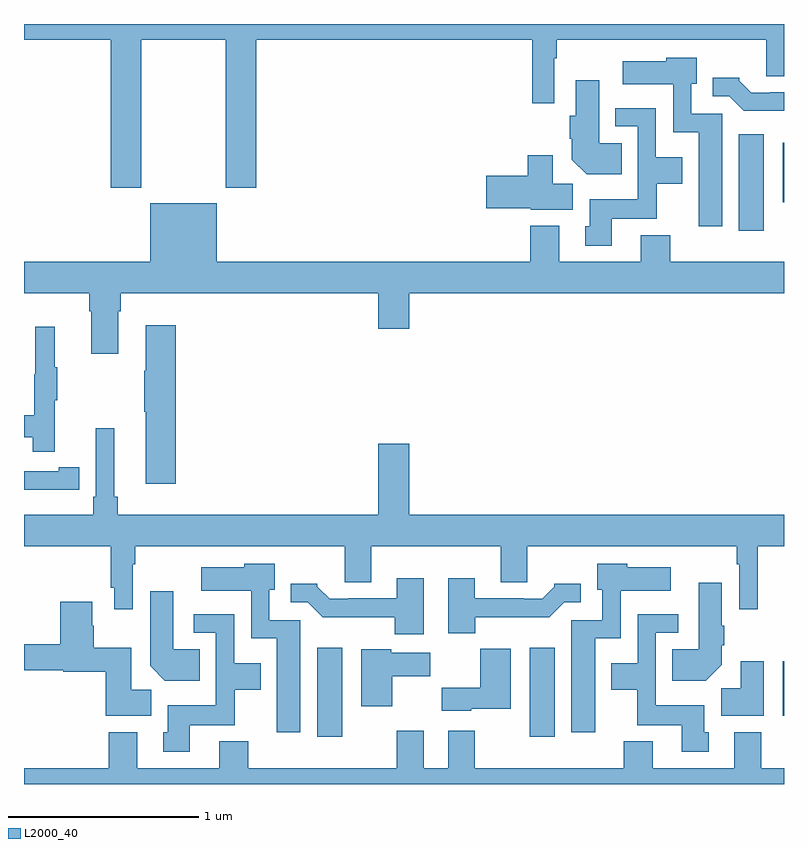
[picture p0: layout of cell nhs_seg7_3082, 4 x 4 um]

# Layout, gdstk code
import gdstk
lib = gdstk.Library(unit=1e-6, precision=1e-09)
def R(c, l, rs):  # rectangles x0, y0, x1, y1
    for r in rs: c.add(gdstk.rectangle(r[:2], r[2:], *l))
def P(c, l, *ps):  # polygons
    for p in ps: c.add(gdstk.Polygon(p, *l))
L2000_40 = (2000, 40)

nhs_seg7_3082 = lib.new_cell('nhs_seg7_3082')
R(nhs_seg7_3082, L2000_40, [(308.543,1030.248,308.674,1030.717), (309.662,1030.248,309.793,1030.717), (310.994,1030.358,311,1030.645), (310.763,1032.912,310.894,1033.42), (310.994,1033.061,311,1033.375)])
P(nhs_seg7_3082, L2000_40, [(307.617,1033.916),(308.062,1033.916),(308.062,1033.137),(308.222,1033.137),(308.222,1033.916),(309.676,1033.916),(309.676,1033.584),(309.792,1033.584),(309.792,1033.82),(309.805,1033.82),(309.805,1033.916),(310.907,1033.916),(310.907,1033.726),(311,1033.726),(311,1034),(307,1034),(307,1033.916),(307.457,1033.916),(307.457,1033.137),(307.617,1033.137)],
  [(310.675,1033.527),(310.512,1033.527),(310.512,1033.686),(310.54,1033.686),(310.54,1033.822),(310.38,1033.822),(310.38,1033.804),(310.152,1033.804),(310.152,1033.682),(310.416,1033.682),(310.416,1033.43),(310.55,1033.43),(310.55,1032.936),(310.675,1032.936)],
  [(311,1033.641),(310.927,1033.641),(310.927,1033.638),(310.828,1033.638),(310.764,1033.702),(310.764,1033.717),(310.625,1033.717),(310.625,1033.62),(310.713,1033.62),(310.789,1033.544),(311,1033.544)],
  [(310.145,1033.372),(310.027,1033.372),(310.027,1033.705),(309.905,1033.705),(309.905,1033.518),(309.872,1033.518),(309.872,1033.396),(309.884,1033.396),(309.884,1033.286),(309.962,1033.208),(310.145,1033.208)],
  [(310.093,1032.974),(310.329,1032.974),(310.329,1033.16),(310.465,1033.16),(310.465,1033.3),(310.326,1033.3),(310.326,1033.557),(310.113,1033.557),(310.113,1033.461),(310.23,1033.461),(310.23,1033.078),(309.977,1033.078),(309.977,1032.936),(309.953,1032.936),(309.953,1032.834),(310.093,1032.834)],
  [(309.889,1033.16),(309.784,1033.16),(309.784,1033.309),(309.65,1033.309),(309.65,1033.202),(309.432,1033.202),(309.432,1033.031),(309.666,1033.031),(309.666,1033.022),(309.889,1033.022)],
  [(307.495,1032.488),(307.508,1032.488),(307.508,1032.584),(308.864,1032.584),(308.864,1032.396),(309.028,1032.396),(309.028,1032.584),(311,1032.584),(311,1032.748),(310.4,1032.748),(310.4,1032.889),(310.247,1032.889),(310.247,1032.748),(309.817,1032.748),(309.817,1032.937),(309.665,1032.937),(309.665,1032.748),(308.014,1032.748),(308.014,1033.057),(307.664,1033.057),(307.664,1032.748),(307,1032.748),(307,1032.584),(307.343,1032.584),(307.343,1032.488),(307.355,1032.488),(307.355,1032.264),(307.495,1032.264)],
  [(307.799,1032.415),(307.64,1032.415),(307.64,1032.176),(307.633,1032.176),(307.633,1031.959),(307.64,1031.959),(307.64,1031.58),(307.799,1031.58)],
  [(307.163,1032.019),(307.174,1032.019),(307.174,1032.193),(307.163,1032.193),(307.163,1032.406),(307.06,1032.406),(307.06,1032.156),(307.053,1032.156),(307.053,1031.942),(307,1031.942),(307,1031.826),(307.045,1031.826),(307.045,1031.748),(307.163,1031.748)],
  [(307.572,1031.156),(307.585,1031.156),(307.585,1031.252),(308.687,1031.252),(308.687,1031.062),(308.827,1031.062),(308.827,1031.252),(309.509,1031.252),(309.509,1031.062),(309.649,1031.062),(309.649,1031.252),(310.752,1031.252),(310.752,1031.156),(310.764,1031.156),(310.764,1030.92),(310.861,1030.92),(310.861,1031.252),(311,1031.252),(311,1031.416),(309.028,1031.416),(309.028,1031.791),(308.864,1031.791),(308.864,1031.416),(307.493,1031.416),(307.493,1031.512),(307.474,1031.512),(307.474,1031.872),(307.377,1031.872),(307.377,1031.512),(307.364,1031.512),(307.364,1031.416),(307,1031.416),(307,1031.252),(307.456,1031.252),(307.456,1031.032),(307.476,1031.032),(307.476,1030.92),(307.572,1030.92)],
  [(307.184,1031.55),(307.292,1031.55),(307.292,1031.666),(307.184,1031.666),(307.184,1031.646),(307,1031.646),(307,1031.549),(307.184,1031.549)],
  [(308.455,1030.863),(308.292,1030.863),(308.292,1031.022),(308.32,1031.022),(308.32,1031.158),(308.16,1031.158),(308.16,1031.14),(307.932,1031.14),(307.932,1031.018),(308.196,1031.018),(308.196,1030.766),(308.33,1030.766),(308.33,1030.272),(308.455,1030.272)],
  [(310.006,1030.766),(310.14,1030.766),(310.14,1031.018),(310.405,1031.018),(310.405,1031.14),(310.176,1031.14),(310.176,1031.158),(310.016,1031.158),(310.016,1031.022),(310.044,1031.022),(310.044,1030.863),(309.881,1030.863),(309.881,1030.272),(310.006,1030.272)],
  [(309.376,1030.878),(309.765,1030.878),(309.843,1030.956),(309.931,1030.956),(309.931,1031.053),(309.792,1031.053),(309.792,1031.038),(309.728,1030.974),(309.629,1030.974),(309.629,1030.977),(309.373,1030.977),(309.373,1031.083),(309.233,1031.083),(309.233,1030.793),(309.376,1030.793)],
  [(309.103,1031.083),(308.963,1031.083),(308.963,1030.977),(308.707,1030.977),(308.707,1030.974),(308.608,1030.974),(308.544,1031.038),(308.544,1031.053),(308.405,1031.053),(308.405,1030.956),(308.493,1030.956),(308.572,1030.878),(308.951,1030.878),(308.951,1030.788),(309.103,1030.788)],
  [(310.672,1030.628),(310.672,1030.729),(310.685,1030.729),(310.685,1030.832),(310.672,1030.832),(310.672,1031.059),(310.55,1031.059),(310.55,1030.708),(310.411,1030.708),(310.411,1030.544),(310.588,1030.544)],
  [(307.925,1030.708),(307.786,1030.708),(307.786,1031.014),(307.664,1031.014),(307.664,1030.622),(307.742,1030.544),(307.925,1030.544)],
  [(307.669,1030.496),(307.564,1030.496),(307.564,1030.717),(307.368,1030.717),(307.368,1030.832),(307.36,1030.832),(307.36,1030.96),(307.19,1030.96),(307.19,1030.736),(307,1030.736),(307,1030.6),(307.206,1030.6),(307.206,1030.592),(307.43,1030.592),(307.43,1030.358),(307.669,1030.358)],
  [(310.603,1030.272),(310.579,1030.272),(310.579,1030.414),(310.326,1030.414),(310.326,1030.797),(310.444,1030.797),(310.444,1030.893),(310.23,1030.893),(310.23,1030.636),(310.091,1030.636),(310.091,1030.496),(310.228,1030.496),(310.228,1030.31),(310.463,1030.31),(310.463,1030.17),(310.603,1030.17)],
  [(307.873,1030.31),(308.109,1030.31),(308.109,1030.496),(308.245,1030.496),(308.245,1030.636),(308.106,1030.636),(308.106,1030.893),(307.893,1030.893),(307.893,1030.797),(308.01,1030.797),(308.01,1030.414),(307.757,1030.414),(307.757,1030.272),(307.733,1030.272),(307.733,1030.17),(307.873,1030.17)],
  [(309.354,1030.397),(309.562,1030.397),(309.562,1030.711),(309.4,1030.711),(309.4,1030.507),(309.198,1030.507),(309.198,1030.385),(309.354,1030.385)],
  [(308.938,1030.568),(309.138,1030.568),(309.138,1030.69),(308.934,1030.69),(308.934,1030.708),(308.774,1030.708),(308.774,1030.41),(308.938,1030.41)],
  [(310.894,1030.645),(310.772,1030.645),(310.772,1030.505),(310.67,1030.505),(310.67,1030.358),(310.894,1030.358)],
  [(311,1030.084),(310.879,1030.084),(310.879,1030.273),(310.739,1030.273),(310.739,1030.084),(310.309,1030.084),(310.309,1030.225),(310.157,1030.225),(310.157,1030.084),(309.373,1030.084),(309.373,1030.279),(309.233,1030.279),(309.233,1030.084),(309.103,1030.084),(309.103,1030.279),(308.963,1030.279),(308.963,1030.084),(308.18,1030.084),(308.18,1030.225),(308.027,1030.225),(308.027,1030.084),(307.597,1030.084),(307.597,1030.273),(307.445,1030.273),(307.445,1030.084),(307,1030.084),(307,1030),(311,1030)])

lib.write_gds('nhs_seg7_3082.gds')
